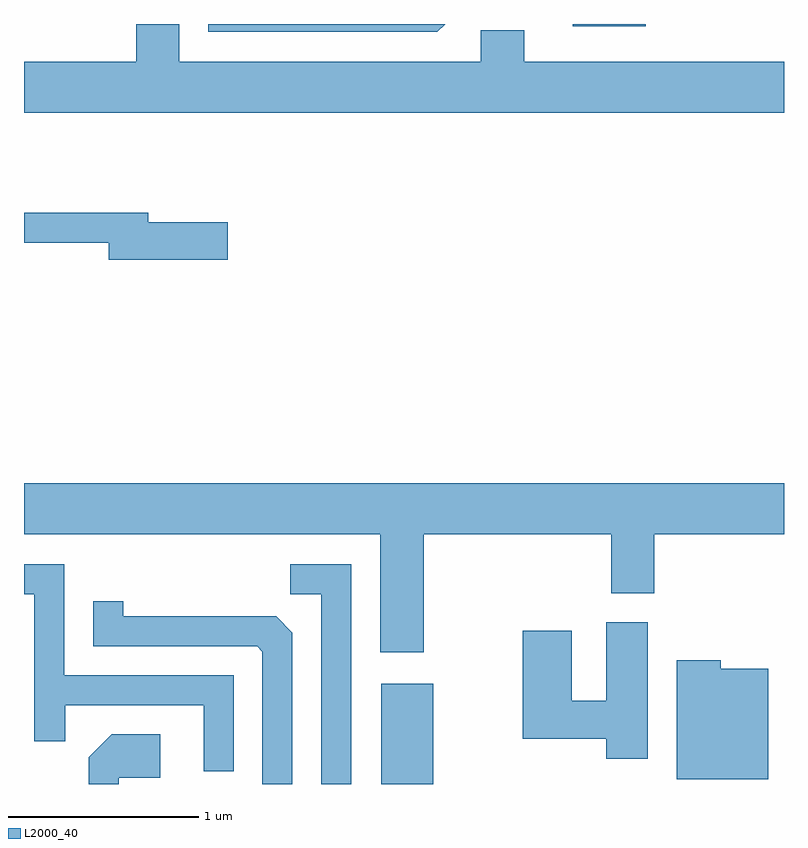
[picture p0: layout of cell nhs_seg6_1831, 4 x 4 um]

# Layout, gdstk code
import gdstk
lib = gdstk.Library(unit=1e-6, precision=1e-09)
def R(c, l, rs):  # rectangles x0, y0, x1, y1
    for r in rs: c.add(gdstk.rectangle(r[:2], r[2:], *l))
def P(c, l, *ps):  # polygons
    for p in ps: c.add(gdstk.Polygon(p, *l))
L2000_40 = (2000, 40)

nhs_seg6_1831 = lib.new_cell('nhs_seg6_1831')
R(nhs_seg6_1831, L2000_40, [(241.491,1664.162,241.764,1664.689), (242.498,1668.151,242.884,1668.162)])
P(nhs_seg6_1831, L2000_40, [(243.611,1667.964),(242.244,1667.964),(242.244,1668.129),(242.016,1668.129),(242.016,1667.964),(240.429,1667.964),(240.429,1668.162),(240.201,1668.162),(240.201,1667.964),(239.611,1667.964),(239.611,1667.696),(243.611,1667.696)],
  [(241.828,1668.162),(240.581,1668.162),(240.581,1668.121),(241.787,1668.121)],
  [(240.684,1667.119),(240.264,1667.119),(240.264,1667.169),(239.611,1667.169),(239.611,1667.011),(240.056,1667.011),(240.056,1666.921),(240.684,1666.921)],
  [(241.714,1665.476),(242.701,1665.476),(242.701,1665.166),(242.929,1665.166),(242.929,1665.476),(243.611,1665.476),(243.611,1665.744),(239.611,1665.744),(239.611,1665.476),(241.486,1665.476),(241.486,1664.856),(241.714,1664.856)],
  [(240.714,1664.734),(239.824,1664.734),(239.824,1665.319),(239.611,1665.319),(239.611,1665.161),(239.666,1665.161),(239.666,1664.388),(239.829,1664.388),(239.829,1664.576),(240.556,1664.576),(240.556,1664.228),(240.714,1664.228)],
  [(241.334,1665.319),(241.013,1665.319),(241.013,1665.161),(241.176,1665.161),(241.176,1664.162),(241.334,1664.162)],
  [(241.024,1664.959),(240.939,1665.044),(240.134,1665.044),(240.134,1665.123),(239.976,1665.123),(239.976,1664.886),(240.839,1664.886),(240.866,1664.859),(240.866,1664.162),(241.024,1664.162)],
  [(242.894,1665.014),(242.676,1665.014),(242.676,1664.599),(242.494,1664.599),(242.494,1664.969),(242.236,1664.969),(242.236,1664.401),(242.676,1664.401),(242.676,1664.296),(242.894,1664.296)],
  [(243.529,1664.769),(243.279,1664.769),(243.279,1664.814),(243.046,1664.814),(243.046,1664.186),(243.529,1664.186)],
  [(240.109,1664.196),(240.329,1664.196),(240.329,1664.424),(240.074,1664.424),(239.951,1664.302),(239.951,1664.162),(240.109,1664.162)])

lib.write_gds('nhs_seg6_1831.gds')
